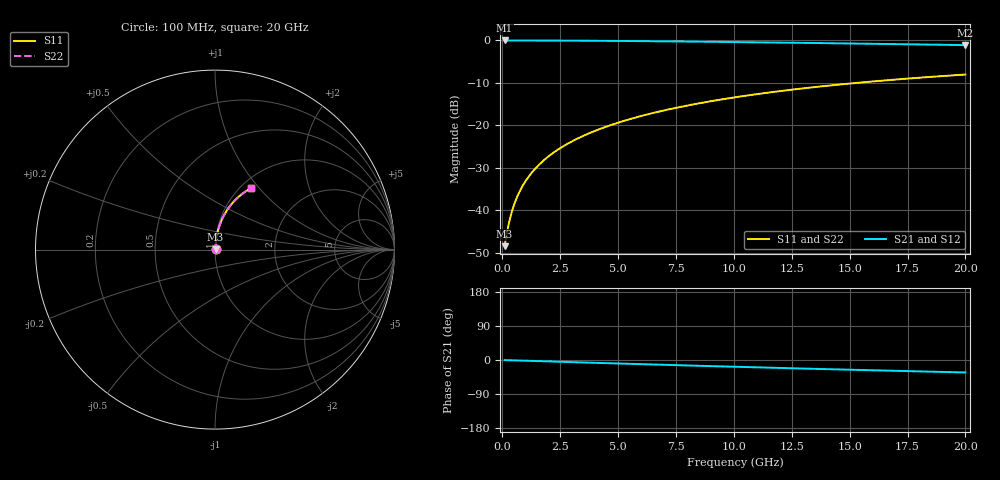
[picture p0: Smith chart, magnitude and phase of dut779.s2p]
! Touchstone file exported from HFSS 2024.1.0
!  File:  C:/UserFiles/LocalFiles/RDL_TSV_Batchsim/temp_RDL_top_779_1779852929.aedt
!  Generated:  11:37:52 AM May 27, 2026
!  Design:  RDL_top
!  Project:  temp_RDL_top_779_1779852929
!  Setup:  Setup1
!  Solution:  Sweep
! Variables:
!  dtsv = 10.80580581um
!  hbump = 3um
!  htsv = 94.26um
!  ldown = 100um
!  lrdl = 378.75um
!  p = 40
!  p1 = 55.44um
!  rhole = 1um
!  t = 450um
!  tdown = 3.915915916um
!  trdl = 3.4um
!  wdown = 15.38538539um
!  wrdl = 13.53um
# GHz S MA R 50.000000
! Terminal data exported
! Port[1] = Box2_T1
! Port[2] = Box2_T2
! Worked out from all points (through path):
!   200 points, 100 MHz to 20 GHz, reference 50 ohm
!   highest |S21| = -0.03 dB at 100 MHz (marker M1); lowest = -1.1 dB at 20 GHz (marker M2)
!   group delay of S21, straight-line fit = 4.56 ps
!   lowest |S11| = -48.5 dB at 100 MHz (marker M3), VSWR 1.01, Z = 50.3 + j0.224 ohm
!   |S11| at or under -10 dB: start of sweep to 15.34 GHz
!   |S22| runs from -48.5 to -8.1 dB; largest |S21 - S12| = 2e-15
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0.1  0.003772 36.1  0.997 -0.2  0.997 -0.2  0.003772 36.1
! Gamma 0 0 0 0
! Port Impedance 50 0 50 0
0.2  0.00541 55.0  0.9969 -0.4  0.9969 -0.4  0.00541 55.0
0.3  0.007344 64.3  0.9968 -0.6  0.9968 -0.6  0.007344 64.3
0.4  0.009373 69.5  0.9967 -0.8  0.9967 -0.8  0.009373 69.5
0.5  0.01144 72.8  0.9966 -1.0  0.9966 -1.0  0.01144 72.8
0.6  0.01352 75.0  0.9965 -1.1  0.9965 -1.1  0.01352 75.0
0.8  0.0177 77.9  0.9963 -1.5  0.9963 -1.5  0.0177 77.9
1.1  0.02401 80.2  0.9959 -2.1  0.9959 -2.1  0.02401 80.2
1.5  0.03248 81.8  0.9953 -2.8  0.9953 -2.8  0.03248 81.8
1.8  0.03885 82.3  0.9948 -3.4  0.9948 -3.4  0.03885 82.3
2.1  0.04524 82.6  0.9942 -3.9  0.9942 -3.9  0.04524 82.6
2.7  0.05804 82.7  0.9927 -5.1  0.9927 -5.1  0.05804 82.8
3.5  0.07515 82.4  0.9902 -6.5  0.9902 -6.5  0.07515 82.4
4.2  0.09013 81.8  0.9876 -7.8  0.9876 -7.8  0.09013 81.8
5  0.1072 81.0  0.9842 -9.2  0.9842 -9.2  0.1073 81.0
5.9  0.1265 79.9  0.9799 -10.8  0.9799 -10.8  0.1265 79.9
6.8  0.1456 78.8  0.9751 -12.4  0.9751 -12.4  0.1456 78.8
8.3  0.1772 76.7  0.9663 -15.0  0.9663 -15.0  0.1772 76.7
10.1  0.2145 74.1  0.9547 -18.0  0.9547 -18.0  0.2145 74.1
13.4  0.2799 69.2  0.931 -23.2  0.931 -23.2  0.2799 69.2
16.7  0.3406 64.4  0.9053 -28.2  0.9053 -28.2  0.3406 64.4
20  0.3958 59.7  0.8785 -32.9  0.8785 -32.9  0.3958 59.7
